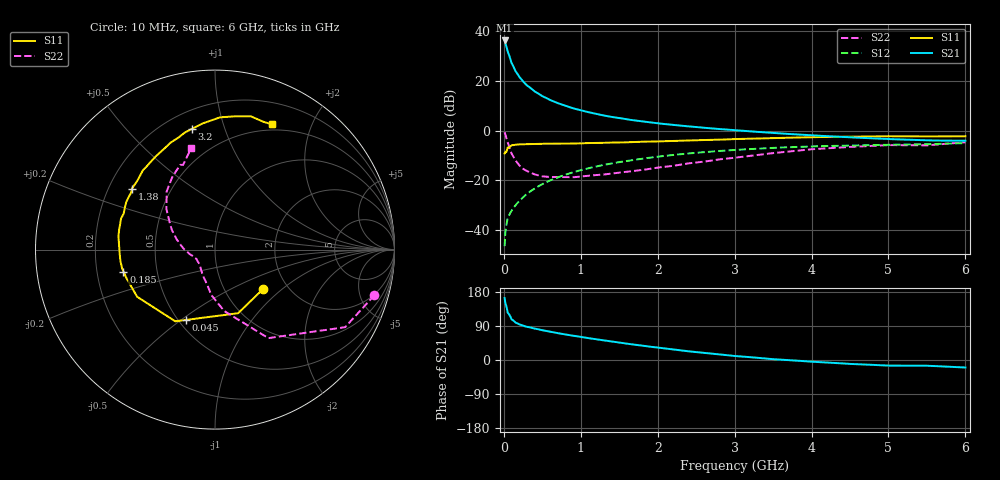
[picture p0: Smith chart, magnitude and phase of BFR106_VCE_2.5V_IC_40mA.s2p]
! Infineon Technologies  Discrete & RF Semiconductors
! BFR106
! VCE =  2.5 V,  IC =  40 mA
! Common Emitter S-Parameters:  Nov 2015
# GHz  S  MA  R  50
!  f  S11  S21  S12  S22
! GHz  MAG  ANG  MAG  ANG  MAG  ANG  MAG  ANG
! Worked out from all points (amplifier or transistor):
!   210 points, 10 MHz to 6 GHz, reference 50 ohm
!   highest |S21| = 36.1 dB at 10 MHz (marker M1)
!   |S21| within 3 dB of that: start of sweep to 37.68 MHz
!   unconditionally stable (mu >= 1): 257.1 MHz to 2.523 GHz; 5.303 GHz to end of sweep
!   at 185 MHz: K = 0.92, MSG = 25.5 dB, |S12| = -28.8 dB
!   at 1.52 GHz: K = 1.05, MAG = 7.3 dB, |S12| = -12.6 dB
!   at 6 GHz: K = 1.00, MAG = 0.3 dB, |S12| = -5.1 dB
!   S11 on the Smith chart (normalised r, x): 10 MHz: 1.51, -0.75; 45 MHz: 0.54, -0.52; 185 MHz: 0.32, -0.11; 1.38 GHz: 0.30, +0.30; 3.2 GHz: 0.31, +0.78; 6 GHz: 0.43, +1.47
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0.01  0.3466 -39.1  63.93 163.4  0.0048 80.4  0.9238 -16.0
0.02  0.3771 -70.0  57.66 150.3  0.0092 69.3  0.844 -30.8
0.045  0.4245 -112.6  41.01 130.6  0.0161 60.1  0.6078 -52.6
0.05  0.4567 -119.0  38.55 124.8  0.0175 59.1  0.5761 -58.9
0.1  0.5072 -148.8  22.68 107.4  0.0246 58.6  0.3466 -81.4
0.15  0.518 -161.6  15.63 98.9  0.0315 61.6  0.2535 -94.7
0.185  0.5243 -166.5  13.06 95.8  0.0364 63.6  0.2162 -99.8
0.2  0.5281 -168.6  11.97 94.1  0.0385 64.3  0.2009 -102.5
0.26  0.5309 -174.1  9.28 89.7  0.0474 66.8  0.1667 -112.1
0.3  0.5313 -176.8  8.041 87.5  0.0536 68.3  0.1547 -116.7
0.4  0.5355 177.2  6.091 82.9  0.0686 69.5  0.1321 -127.1
0.5  0.543 172.7  4.896 78.6  0.0841 69.6  0.1206 -134.4
0.6  0.5452 169.0  4.106 74.7  0.0994 69.4  0.1171 -139.4
0.8  0.5514 161.6  3.12 67.4  0.1301 67.7  0.1164 -149.8
1.02  0.556 154.1  2.495 60.3  0.1633 65.1  0.1205 -156.4
1.38  0.5725 143.9  1.898 49.5  0.2157 59.8  0.1358 -166.8
2.02  0.6054 126.7  1.384 32.3  0.3013 49.7  0.182 176.0
3.1  0.6789 102.6  0.988 9.1  0.4165 32.3  0.2972 148.5
3.2  0.6847 100.8  0.963 7.5  0.4246 30.7  0.3103 146.2
4.1  0.7395 86.4  0.785 -5.5  0.485 17.3  0.4296 127.8
5.1  0.767 73.9  0.666 -14.9  0.5212 5.1  0.5091 112.0
6  0.7667 65.4  0.624 -19.8  0.559 -4.2  0.5824 103.0
